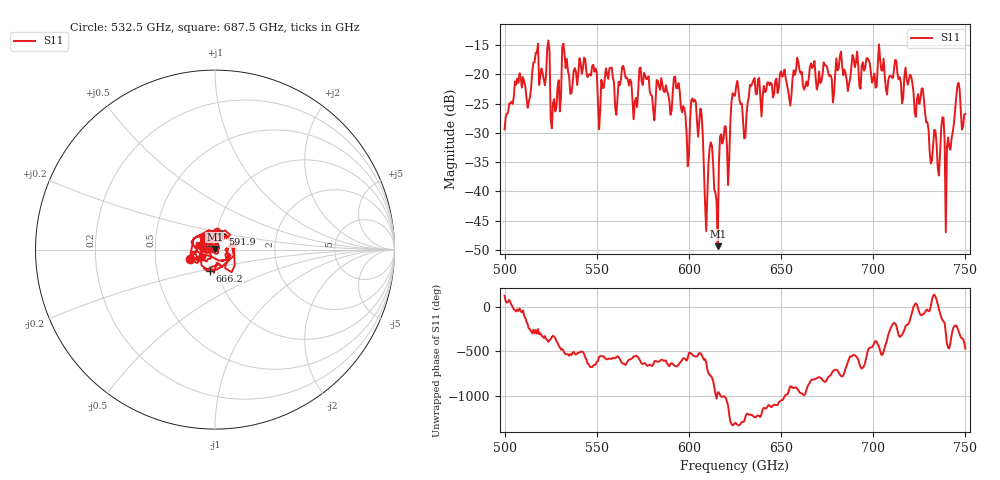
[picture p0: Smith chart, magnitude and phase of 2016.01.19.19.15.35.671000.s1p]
!Created with skrf (http://scikit-rf.org).
# GHz S RI R 50.0
!freq ReS11 ImS11
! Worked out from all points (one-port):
!   401 points, 500 GHz to 750 GHz, reference 50 ohm
!   lowest |S11| = -49.4 dB at 615.6 GHz (marker M1), VSWR 1.01, Z = 49.8 + j0.29 ohm
!   |S11| at or under -10 dB: start of sweep to end of sweep
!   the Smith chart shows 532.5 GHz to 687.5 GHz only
!   S11 on the Smith chart (normalised r, x): 532.5 GHz: 0.75, -0.08; 591.9 GHz: 1.07, +0.18; 666.2 GHz: 0.92, -0.23; 687.5 GHz: 0.84, +0.04
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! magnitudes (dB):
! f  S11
! 500 GHz  -29.4
! 506.9 GHz  -20.7
! 513.1 GHz  -24.7
! 516.9 GHz  -16.3
! 523.1 GHz  -15.6
! 526.2 GHz  -24.9
! 531.2 GHz  -15.4
! 532.5 GHz  -16.5
! 551.9 GHz  -26.0
! 562.5 GHz  -21.8
! 591.9 GHz  -20.5
! 593.8 GHz  -22.4
! 599.4 GHz  -35.7
! 602.5 GHz  -24.7
! 606.2 GHz  -25.8
! 609.4 GHz  -46.8
! 611.9 GHz  -31.6
! 615.6 GHz  -49.4
! 625 GHz  -23.7
! 630.6 GHz  -30.8
! 634.4 GHz  -21.5
! 656.2 GHz  -20.6
! 666.2 GHz  -18.1
! 687.5 GHz  -20.7
! 718.8 GHz  -21.8
! 740.6 GHz  -30.8
! 745.6 GHz  -22.1
! 750 GHz  -26.8
